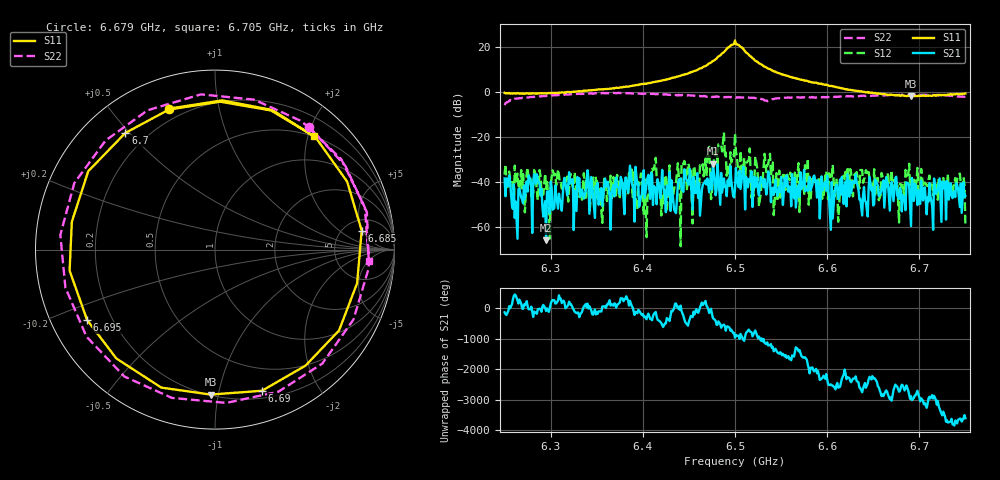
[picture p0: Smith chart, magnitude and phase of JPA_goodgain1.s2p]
# Hz S RI R 50
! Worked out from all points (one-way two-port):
!   401 points, 6.25 GHz to 6.75 GHz, reference 50 ohm
!   highest |S21| = -31.74 dB at 6.476 GHz (marker M1); lowest = -65.7 dB at 6.295 GHz (marker M2)
!   lowest |S11| = -1.9 dB at 6.691 GHz (marker M3), VSWR 9.42, Z = 10.2 - j47.5 ohm
!   |S11| at or under -10 dB: nowhere
!   |S22| runs from -5.8 to -0.3 dB; largest |S21 - S12| = 0.14
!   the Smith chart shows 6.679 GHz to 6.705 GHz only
!   S11 on the Smith chart (normalised r, x): 6.679 GHz: 0.15, +0.72; 6.685 GHz: 7.18, +4.75; 6.69 GHz: 0.27, -1.35; 6.695 GHz: 0.11, -0.25; 6.7 GHz: 0.12, +0.49; 6.705 GHz: 0.49, +2.10
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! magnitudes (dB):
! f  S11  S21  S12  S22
! 6.25 GHz  -0.4  -38.3  -36.6  -5.8
! 6.261 GHz  -0.6  -55.8  -32.7  -3.0
! 6.285 GHz  -0.5  -36.5  -43.7  -2.1
! 6.295 GHz  -0.6  -65.7  -42.9  -1.8
! 6.334 GHz  0.3  -43.2  -47.8  -0.9
! 6.418 GHz  4.9  -42.4  -40.1  -1.1
! 6.476 GHz  13.8  -31.7  -34.9  -2.2
! 6.5 GHz  22.9  -43.1  -18.4  -2.4
! 6.528 GHz  12.4  -37.7  -44.7  -3.0
! 6.535 GHz  10.7  -41.9  -32.4  -4.1
! 6.549 GHz  8.2  -44.4  -46.8  -2.6
! 6.584 GHz  4.3  -41.1  -37.3  -2.2
! 6.668 GHz  -1.2  -52.6  -46.4  -1.3
! 6.679 GHz  -1.7  -42.4  -40.8  -1.3
! 6.685 GHz  -1.7  -52.4  -34.5  -1.2
! 6.69 GHz  -1.6  -50.8  -41.8  -1.2
! 6.691 GHz  -1.9  -59.5  -40.0  -1.3
! 6.695 GHz  -1.8  -40.6  -43.0  -1.2
! 6.7 GHz  -1.7  -46.6  -49.6  -1.3
! 6.705 GHz  -1.5  -42.5  -45.0  -1.3
! 6.741 GHz  -0.8  -41.2  -38.8  -2.0
! 6.75 GHz  -0.6  -46.0  -59.2  -2.2
